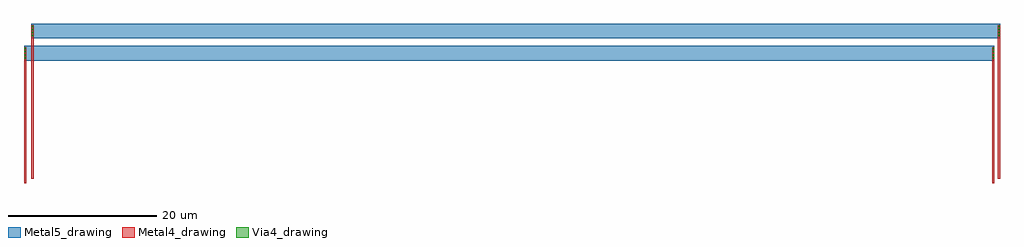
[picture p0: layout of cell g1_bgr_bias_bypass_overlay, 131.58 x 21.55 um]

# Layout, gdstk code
import gdstk
lib = gdstk.Library(unit=1e-6, precision=1e-09)
def R(c, l, rs):  # rectangles x0, y0, x1, y1
    for r in rs: c.add(gdstk.rectangle(r[:2], r[2:], *l))
def A(c, l, x, y, w, h, nx, ny, dx, dy):  # array of equal rectangles
    R(c, l, [(x+i*dx, y+j*dy, x+i*dx+w, y+j*dy+h) for i in range(nx) for j in range(ny)])
Metal4_drawing = (50, 0)
Via4_drawing = (66, 0)
Metal5_drawing = (67, 0)

g1_bgr_bias_bypass_overl = lib.new_cell('g1_bgr_bias_bypass_overlay')
R(g1_bgr_bias_bypass_overl, Metal4_drawing, [(281.06,138.45,281.36,156.78), (411.59,138.45,411.89,156.78), (282.06,139.05,282.36,159.78), (412.34,139.05,412.64,159.78), (281.06,155.22,281.36,156.78), (411.59,155.22,411.89,156.78), (282.06,158.22,282.36,159.78), (412.34,158.22,412.64,159.78)])
A(g1_bgr_bias_bypass_overl, Via4_drawing, 281.115, 155.275, 0.19, 0.19, 1, 4, 0, 0.42)
A(g1_bgr_bias_bypass_overl, Via4_drawing, 411.645, 155.275, 0.19, 0.19, 1, 4, 0, 0.42)
A(g1_bgr_bias_bypass_overl, Via4_drawing, 282.115, 158.275, 0.19, 0.19, 1, 4, 0, 0.42)
A(g1_bgr_bias_bypass_overl, Via4_drawing, 412.395, 158.275, 0.19, 0.19, 1, 4, 0, 0.42)
R(g1_bgr_bias_bypass_overl, Metal5_drawing, [(281.06,155,411.89,157), (281.06,155.22,281.36,156.78), (411.59,155.22,411.89,156.78), (282.06,158,412.64,160), (282.06,158.22,282.36,159.78), (412.34,158.22,412.64,159.78)])

lib.write_gds('g1_bgr_bias_bypass_overlay.gds')
